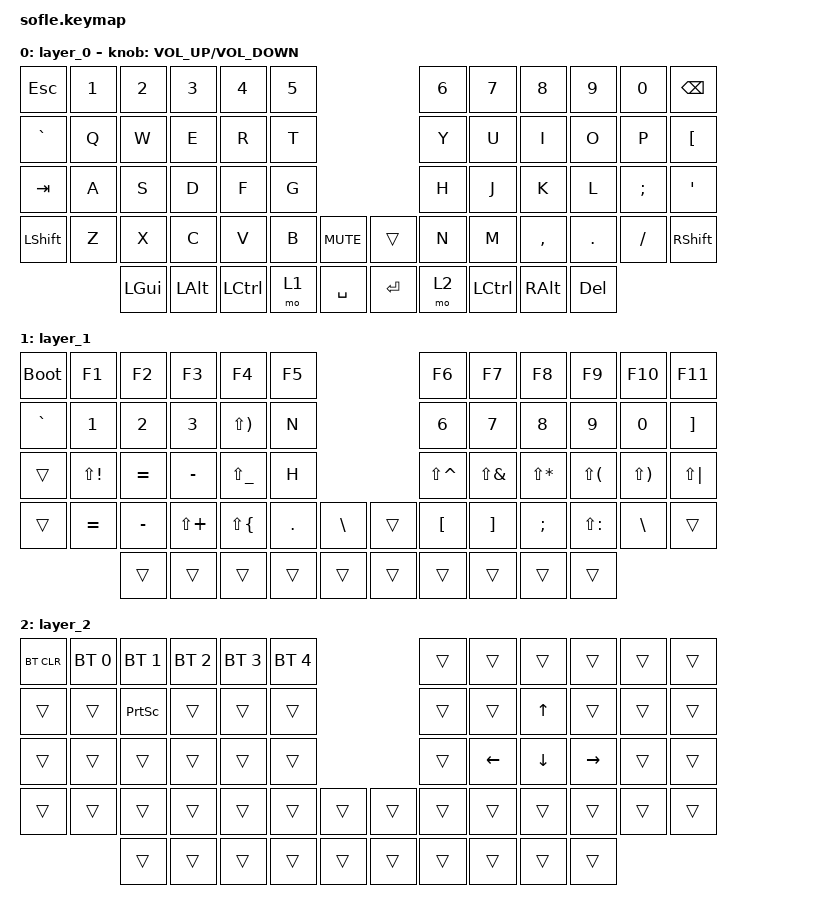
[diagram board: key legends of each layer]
#include <behaviors.dtsi>
#include <dt-bindings/zmk/bt.h>
#include <dt-bindings/zmk/keys.h>

/ {
    keymap {
        compatible = "zmk,keymap";

        layer_0 {
            bindings = <
&kp ESC    &kp N1  &kp N2    &kp N3    &kp N4     &kp N5                         &kp N6  &kp N7     &kp N8     &kp N9   &kp N0    &kp BSPC
&kp GRAVE  &kp Q   &kp W     &kp E     &kp R      &kp T                          &kp Y   &kp U      &kp I      &kp O    &kp P     &kp LBKT
&kp TAB    &kp A   &kp S     &kp D     &kp F      &kp G                          &kp H   &kp J      &kp K      &kp L    &kp SEMI  &kp SQT
&kp LSHFT  &kp Z   &kp X     &kp C     &kp V      &kp B   &kp K_MUTE    &trans   &kp N   &kp M      &kp COMMA  &kp DOT  &kp FSLH  &kp RSHFT
                   &kp LGUI  &kp LALT  &kp LCTRL  &mo 1   &kp SPACE     &kp RET  &mo 2   &kp LCTRL  &kp RALT   &kp DEL
            >;

            sensor-bindings = <&inc_dec_kp K_VOLUME_UP K_VOLUME_DOWN>;
        };

        layer_1 {
            bindings = <
&bootloader  &kp F1        &kp F2     &kp F3        &kp F4         &kp F5                       &kp F6         &kp F7        &kp F8        &kp F9         &kp F10       &kp F11
&kp GRAVE    &kp N1        &kp N2     &kp N3        &kp LS(RPAR)   &kp N                        &kp N6         &kp N7        &kp N8        &kp N9         &kp N0        &kp RBKT
&trans       &kp LS(EXCL)  &kp EQUAL  &kp MINUS     &kp LS(UNDER)  &kp H                        &kp LS(CARET)  &kp LS(AMPS)  &kp LS(STAR)  &kp LS(LPAR)   &kp LS(RPAR)  &kp LS(PIPE)
&trans       &kp EQUAL     &kp MINUS  &kp LS(PLUS)  &kp LS(LBRC)   &kp DOT  &kp BSLH    &trans  &kp LBKT       &kp RBKT      &kp SEMI      &kp LS(COLON)  &kp BSLH      &trans
                           &trans     &trans        &trans         &trans   &trans      &trans  &trans         &trans        &trans        &trans
            >;
        };

        layer_2 {
            bindings = <
&bt BT_CLR  &bt BT_SEL 0  &bt BT_SEL 1     &bt BT_SEL 2  &bt BT_SEL 3  &bt BT_SEL 4                    &trans  &trans    &trans    &trans     &trans  &trans
&trans      &trans        &kp PRINTSCREEN  &trans        &trans        &trans                          &trans  &trans    &kp UP    &trans     &trans  &trans
&trans      &trans        &trans           &trans        &trans        &trans                          &trans  &kp LEFT  &kp DOWN  &kp RIGHT  &trans  &trans
&trans      &trans        &trans           &trans        &trans        &trans        &trans    &trans  &trans  &trans    &trans    &trans     &trans  &trans
                          &trans           &trans        &trans        &trans        &trans    &trans  &trans  &trans    &trans    &trans
            >;
        };
    };
};
